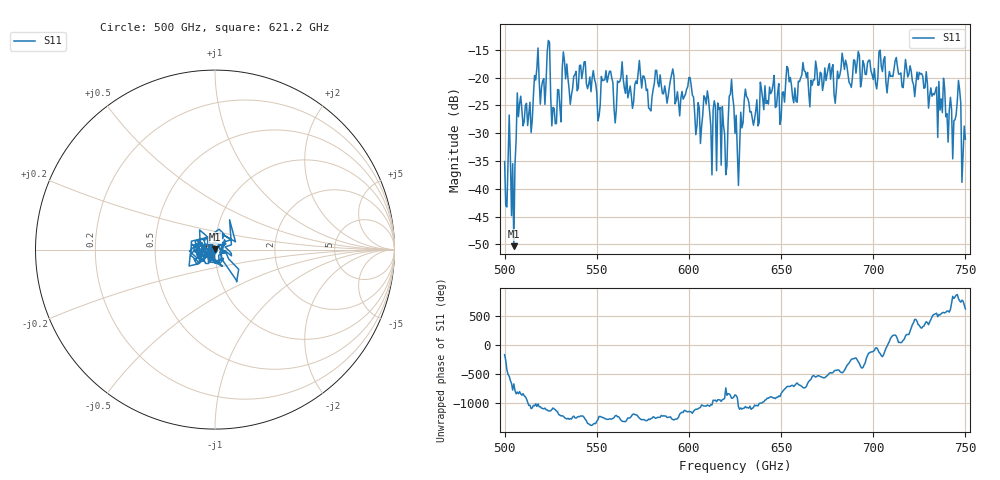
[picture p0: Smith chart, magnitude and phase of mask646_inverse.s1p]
!Created with skrf (http://scikit-rf.org).
# GHz S MA R 50.0
!freq magS11 angS11
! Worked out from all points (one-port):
!   401 points, 500 GHz to 750 GHz, reference 50 ohm
!   lowest |S11| = -50.3 dB at 505 GHz (marker M1), VSWR 1.01, Z = 50.2 + j0.225 ohm
!   |S11| at or under -10 dB: start of sweep to end of sweep
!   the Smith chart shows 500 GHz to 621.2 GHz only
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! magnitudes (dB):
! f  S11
! 500 GHz  -35.1
! 505 GHz  -50.3
! 508.1 GHz  -24.7
! 513.8 GHz  -24.4
! 516.9 GHz  -20.4
! 520.6 GHz  -20.6
! 523.8 GHz  -13.3
! 526.9 GHz  -25.5
! 531.2 GHz  -18.4
! 542.5 GHz  -18.8
! 550.6 GHz  -27.8
! 562.5 GHz  -20.7
! 590.6 GHz  -19.4
! 593.8 GHz  -22.5
! 600 GHz  -20.0
! 605 GHz  -24.5
! 609.4 GHz  -24.8
! 620 GHz  -37.5
! 623.1 GHz  -20.3
! 625 GHz  -30.0
! 626.2 GHz  -33.1
! 631.2 GHz  -23.4
! 656.2 GHz  -23.5
! 687.5 GHz  -21.2
! 718.8 GHz  -19.9
! 741.9 GHz  -23.5
! 746.2 GHz  -20.5
! 750 GHz  -31.1
